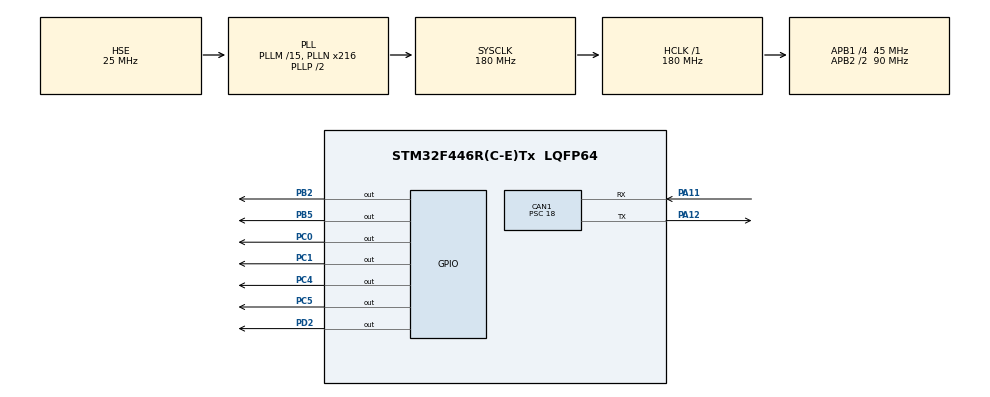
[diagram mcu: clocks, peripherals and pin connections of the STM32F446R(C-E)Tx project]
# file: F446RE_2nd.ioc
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CAN1.BS1=CAN_BS1_2TQ
CAN1.BS2=CAN_BS2_2TQ
CAN1.CalculateBaudRate=500000
CAN1.CalculateTimeBit=2000
CAN1.CalculateTimeQuantum=400.0
CAN1.Prescaler=18
FREERTOS.Tasks01=commandProcess,0,128,CommandProcessorTask,Default,NULL,Dynamic,NULL,NULL
FREERTOS.configUSE_NEWLIB_REENTRANT=1
Mcu.Family=STM32F4
Mcu.Name=STM32F446R(C-E)Tx
Mcu.Package=LQFP64
NVIC.CAN1_RX1_IRQn=true\:5\:0\:false\:false\:true\:true\:true\:true\:true
NVIC.PriorityGroup=NVIC_PRIORITYGROUP_4
NVIC.TIM2_IRQn=true\:15\:0\:false\:false\:true\:false\:false\:true\:true
NVIC.TimeBase=TIM2_IRQn
NVIC.TimeBaseIP=TIM2
PA11.Mode=CAN_Activate
PA11.Signal=CAN1_RX
PA12.Mode=CAN_Activate
PA12.Signal=CAN1_TX
PB2.Signal=GPIO_Output
PB5.Signal=GPIO_Output
PC0.Signal=GPIO_Output
PC1.Signal=GPIO_Output
PC4.Signal=GPIO_Output
PC5.Signal=GPIO_Output
PD2.Signal=GPIO_Output
PH0-OSC_IN.Mode=HSE-External-Oscillator
PH0-OSC_IN.Signal=RCC_OSC_IN
PH1-OSC_OUT.Mode=HSE-External-Oscillator
PH1-OSC_OUT.Signal=RCC_OSC_OUT
ProjectManager.HeapSize=0x200
ProjectManager.StackSize=0x400
ProjectManager.TargetToolchain=STM32CubeIDE
RCC.AHBFreq_Value=180000000
RCC.APB1CLKDivider=RCC_HCLK_DIV4
RCC.APB1Freq_Value=45000000
RCC.APB1TimFreq_Value=90000000
RCC.APB2CLKDivider=RCC_HCLK_DIV2
RCC.APB2Freq_Value=90000000
RCC.APB2TimFreq_Value=180000000
RCC.CortexFreq_Value=180000000
RCC.HCLKFreq_Value=180000000
RCC.PLLM=15
RCC.PLLN=216
RCC.PLLSourceVirtual=RCC_PLLSOURCE_HSE
RCC.SYSCLKFreq_VALUE=180000000
RCC.SYSCLKSource=RCC_SYSCLKSOURCE_PLLCLK
RCC.USBFreq_Value=180000000
RCC.VCOOutputFreq_Value=360000000
TIM1.Prescaler=180-1
VP_FREERTOS_VS_CMSIS_V1.Mode=CMSIS_V1
VP_SYS_VS_tim2.Mode=TIM2
VP_TIM1_VS_ClockSourceINT.Mode=Internal
board=custom

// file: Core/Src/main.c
/* USER CODE BEGIN Header */
/**
  ******************************************************************************
  * @file           : main.c
  * @brief          : Main program body
  ******************************************************************************
  * @attention
  *
  * Copyright (c) 2024 STMicroelectronics.
  * All rights reserved.
  *
  * This software is licensed under terms that can be found in the LICENSE file
  * in the root directory of this software component.
  * If no LICENSE file comes with this software, it is provided AS-IS.
  *
  ******************************************************************************
  */
/* USER CODE END Header */
#include "main.h"
#include "cmsis_os.h"

/* USER CODE BEGIN Includes */
#include "LCD1602.h"
#include "message.pb.h"  // Include your Protocol Buffers header
#include <pb_encode.h>   // Include Nanopb encode header
#include <pb_decode.h>   // Include Nanopb decode header
#include <stdio.h>
/* USER CODE END Includes */

/* USER CODE BEGIN PD */
#define CAN_MAX_DATA_SIZE 8 // Maximum bytes per CAN message
#define MAX_MESSAGE_SIZE 32 // Maximum size of the entire message
#define CAN_ID 0x124       // Standard CAN ID
/* USER CODE END PD */

CAN_HandleTypeDef hcan1;

TIM_HandleTypeDef htim1;

osThreadId commandProcessHandle;
/* USER CODE BEGIN PV */
BaseType_t RetValCAN;
osThreadId TaskCANHandle;

CAN_TxHeaderTypeDef TxHeader;
CAN_RxHeaderTypeDef RxHeader;

uint8_t TxData[8];
uint8_t RxData[8];

uint8_t TxMailbox[3];

uint8_t fullRxBuffer[MAX_MESSAGE_SIZE];

uint32_t error;

/* USER CODE END PV */

void SystemClock_Config(void);
static void MX_GPIO_Init(void);
static void MX_CAN1_Init(void);
static void MX_TIM1_Init(void);
void CommandProcessorTask(void const * argument);

/* USER CODE BEGIN PFP */
void CANCommunicationTask(void *argument);

/* USER CODE END PFP */

/* USER CODE BEGIN 0 */
ServoUltrasonicData received_message = ServoUltrasonicData_init_zero;
ServoUltrasonicData previous_message = ServoUltrasonicData_init_zero;
ServoUltrasonicData feedback_message = ServoUltrasonicData_init_zero;

uint8_t totalBytesReceived = 0;
size_t expectedMessageSize = 0;

int row = 0;
int col = 0;

// Callback for CAN receive
void HAL_CAN_RxFifo1MsgPendingCallback(CAN_HandleTypeDef *hcan) {
    // Get the received message
    if (HAL_CAN_GetRxMessage(hcan, CAN_RX_FIFO1, &RxHeader, RxData) != HAL_OK) {
        Error_Handler();  // Handle reception error
    }

    if (totalBytesReceived == 0) {
        // The first byte of the first frame tells us the total message length
        expectedMessageSize = RxData[0];
        // Copy the remaining 7 bytes to the buffer
        memcpy(&fullRxBuffer[totalBytesReceived], &RxData[1], 7);
        totalBytesReceived += 7;
    } else {
        // Copy the full data as usual
        size_t datalength = RxHeader.DLC;
        memcpy(&fullRxBuffer[totalBytesReceived], RxData, datalength);
        totalBytesReceived += datalength;
    }

    // Check if the full message has been received
    if (totalBytesReceived >= expectedMessageSize) {
        // Decode the received message from the complete buffer
        pb_istream_t stream = pb_istream_from_buffer(fullRxBuffer, totalBytesReceived);
        bool status = pb_decode(&stream, ServoUltrasonicData_fields, &received_message);

        if (!status) {
            const char* nanopb_error = PB_GET_ERROR(&stream);
            Error_Handler();  // Handle decoding error
        }

        // Reset for the next message
        totalBytesReceived = 0;
        expectedMessageSize = 0;
    }
}

/* USER CODE END 0 */

int main(void)
{

  /* MCU Configuration--------------------------------------------------------*/

  /* Reset of all peripherals, Initializes the Flash interface and the Systick. */
  HAL_Init();

  /* Configure the system clock */
  SystemClock_Config();

  /* Initialize all configured peripherals */
  MX_GPIO_Init();
  MX_CAN1_Init();
  MX_TIM1_Init();
  /* USER CODE BEGIN 2 */
  HAL_TIM_Base_Start(&htim1);

  lcd_init();

  HAL_CAN_Start(&hcan1);
  HAL_CAN_ActivateNotification(&hcan1, CAN_IT_RX_FIFO1_MSG_PENDING);
  /* USER CODE END 2 */

  /* Create the thread(s) */
  /* definition and creation of commandProcess */
  osThreadDef(commandProcess, CommandProcessorTask, osPriorityNormal, 0, 128);
  commandProcessHandle = osThreadCreate(osThread(commandProcess), NULL);

  /* USER CODE BEGIN RTOS_THREADS */
  /* add threads, ... */
  RetValCAN = xTaskCreate(CANCommunicationTask, "CANCommTask", 256, NULL, osPriorityNormal, &TaskCANHandle);
  assert_param(RetValCAN != NULL);

  /* USER CODE END RTOS_THREADS */

  /* Start scheduler */
  osKernelStart();

  /* We should never get here as control is now taken by the scheduler */
  /* Infinite loop */
  while (1)
  {

  }
}

void SystemClock_Config(void)
{
  RCC_OscInitTypeDef RCC_OscInitStruct = {0};
  RCC_ClkInitTypeDef RCC_ClkInitStruct = {0};

  /** Configure the main internal regulator output voltage
  */
  __HAL_RCC_PWR_CLK_ENABLE();
  __HAL_PWR_VOLTAGESCALING_CONFIG(PWR_REGULATOR_VOLTAGE_SCALE1);

  /** Initializes the RCC Oscillators according to the specified parameters
  * in the RCC_OscInitTypeDef structure.
  */
  RCC_OscInitStruct.OscillatorType = RCC_OSCILLATORTYPE_HSE;
  RCC_OscInitStruct.HSEState = RCC_HSE_ON;
  RCC_OscInitStruct.PLL.PLLState = RCC_PLL_ON;
  RCC_OscInitStruct.PLL.PLLSource = RCC_PLLSOURCE_HSE;
  RCC_OscInitStruct.PLL.PLLM = 15;
  RCC_OscInitStruct.PLL.PLLN = 216;
  RCC_OscInitStruct.PLL.PLLP = RCC_PLLP_DIV2;
  RCC_OscInitStruct.PLL.PLLQ = 2;
  RCC_OscInitStruct.PLL.PLLR = 2;
  if (HAL_RCC_OscConfig(&RCC_OscInitStruct) != HAL_OK)
  {
    Error_Handler();
  }

  /** Activate the Over-Drive mode
  */
  if (HAL_PWREx_EnableOverDrive() != HAL_OK)
  {
    Error_Handler();
  }

  /** Initializes the CPU, AHB and APB buses clocks
  */
  RCC_ClkInitStruct.ClockType = RCC_CLOCKTYPE_HCLK|RCC_CLOCKTYPE_SYSCLK
                              |RCC_CLOCKTYPE_PCLK1|RCC_CLOCKTYPE_PCLK2;
  RCC_ClkInitStruct.SYSCLKSource = RCC_SYSCLKSOURCE_PLLCLK;
  RCC_ClkInitStruct.AHBCLKDivider = RCC_SYSCLK_DIV1;
  RCC_ClkInitStruct.APB1CLKDivider = RCC_HCLK_DIV4;
  RCC_ClkInitStruct.APB2CLKDivider = RCC_HCLK_DIV2;

  if (HAL_RCC_ClockConfig(&RCC_ClkInitStruct, FLASH_LATENCY_5) != HAL_OK)
  {
    Error_Handler();
  }
}

static void MX_CAN1_Init(void)
{

  hcan1.Instance = CAN1;
  hcan1.Init.Prescaler = 18;
  hcan1.Init.Mode = CAN_MODE_NORMAL;
  hcan1.Init.SyncJumpWidth = CAN_SJW_1TQ;
  hcan1.Init.TimeSeg1 = CAN_BS1_2TQ;
  hcan1.Init.TimeSeg2 = CAN_BS2_2TQ;
  hcan1.Init.TimeTriggeredMode = DISABLE;
  hcan1.Init.AutoBusOff = DISABLE;
  hcan1.Init.AutoWakeUp = DISABLE;
  hcan1.Init.AutoRetransmission = DISABLE;
  hcan1.Init.ReceiveFifoLocked = DISABLE;
  hcan1.Init.TransmitFifoPriority = DISABLE;
  if (HAL_CAN_Init(&hcan1) != HAL_OK)
  {
    Error_Handler();
  }
  /* USER CODE BEGIN CAN1_Init 2 */

  CAN_FilterTypeDef canfilterconfig;

  canfilterconfig.FilterActivation = CAN_FILTER_ENABLE;
  canfilterconfig.FilterBank = 10;  // Choose a filter bank
  canfilterconfig.FilterFIFOAssignment = CAN_FILTER_FIFO1;
  canfilterconfig.FilterIdHigh = 0x144 << 5; // Example ID, adjust as needed
  canfilterconfig.FilterIdLow = 0;
  canfilterconfig.FilterMaskIdHigh = 0x144 << 5;
  canfilterconfig.FilterMaskIdLow = 0;
  canfilterconfig.FilterMode = CAN_FILTERMODE_IDMASK;
  canfilterconfig.FilterScale = CAN_FILTERSCALE_32BIT;
  canfilterconfig.SlaveStartFilterBank = 0;

  HAL_CAN_ConfigFilter(&hcan1, &canfilterconfig);

  /* USER CODE END CAN1_Init 2 */

}

static void MX_TIM1_Init(void)
{

  TIM_ClockConfigTypeDef sClockSourceConfig = {0};
  TIM_MasterConfigTypeDef sMasterConfig = {0};

  htim1.Instance = TIM1;
  htim1.Init.Prescaler = 180-1;
  htim1.Init.CounterMode = TIM_COUNTERMODE_UP;
  htim1.Init.Period = 65535;
  htim1.Init.ClockDivision = TIM_CLOCKDIVISION_DIV1;
  htim1.Init.RepetitionCounter = 0;
  htim1.Init.AutoReloadPreload = TIM_AUTORELOAD_PRELOAD_DISABLE;
  if (HAL_TIM_Base_Init(&htim1) != HAL_OK)
  {
    Error_Handler();
  }
  sClockSourceConfig.ClockSource = TIM_CLOCKSOURCE_INTERNAL;
  if (HAL_TIM_ConfigClockSource(&htim1, &sClockSourceConfig) != HAL_OK)
  {
    Error_Handler();
  }
  sMasterConfig.MasterOutputTrigger = TIM_TRGO_RESET;
  sMasterConfig.MasterSlaveMode = TIM_MASTERSLAVEMODE_DISABLE;
  if (HAL_TIMEx_MasterConfigSynchronization(&htim1, &sMasterConfig) != HAL_OK)
  {
    Error_Handler();
  }

}

static void MX_GPIO_Init(void)
{
  GPIO_InitTypeDef GPIO_InitStruct = {0};

  /* GPIO Ports Clock Enable */
  __HAL_RCC_GPIOH_CLK_ENABLE();
  __HAL_RCC_GPIOC_CLK_ENABLE();
  __HAL_RCC_GPIOB_CLK_ENABLE();
  __HAL_RCC_GPIOA_CLK_ENABLE();
  __HAL_RCC_GPIOD_CLK_ENABLE();

  /*Configure GPIO pin Output Level */
  HAL_GPIO_WritePin(GPIOC, GPIO_PIN_0|GPIO_PIN_1|GPIO_PIN_4|GPIO_PIN_5, GPIO_PIN_RESET);

  /*Configure GPIO pin Output Level */
  HAL_GPIO_WritePin(GPIOB, GPIO_PIN_2|GPIO_PIN_5, GPIO_PIN_RESET);

  /*Configure GPIO pin Output Level */
  HAL_GPIO_WritePin(GPIOD, GPIO_PIN_2, GPIO_PIN_RESET);

  /*Configure GPIO pins : PC0 PC1 PC4 PC5 */
  GPIO_InitStruct.Pin = GPIO_PIN_0|GPIO_PIN_1|GPIO_PIN_4|GPIO_PIN_5;
  GPIO_InitStruct.Mode = GPIO_MODE_OUTPUT_PP;
  GPIO_InitStruct.Pull = GPIO_NOPULL;
  GPIO_InitStruct.Speed = GPIO_SPEED_FREQ_LOW;
  HAL_GPIO_Init(GPIOC, &GPIO_InitStruct);

  /*Configure GPIO pins : PB2 PB5 */
  GPIO_InitStruct.Pin = GPIO_PIN_2|GPIO_PIN_5;
  GPIO_InitStruct.Mode = GPIO_MODE_OUTPUT_PP;
  GPIO_InitStruct.Pull = GPIO_NOPULL;
  GPIO_InitStruct.Speed = GPIO_SPEED_FREQ_LOW;
  HAL_GPIO_Init(GPIOB, &GPIO_InitStruct);

  /*Configure GPIO pin : PD2 */
  GPIO_InitStruct.Pin = GPIO_PIN_2;
  GPIO_InitStruct.Mode = GPIO_MODE_OUTPUT_PP;
  GPIO_InitStruct.Pull = GPIO_NOPULL;
  GPIO_InitStruct.Speed = GPIO_SPEED_FREQ_LOW;
  HAL_GPIO_Init(GPIOD, &GPIO_InitStruct);

}

/* USER CODE BEGIN 4 */

void CANCommunicationTask(void *argument) {

	char messageString[50];
	uint32_t ulNotificationValue;
	int i = 0;

    for (;;) {
        if (xTaskNotifyWait(0, 0xFFFFFFFF, &ulNotificationValue, 0) == pdTRUE) {
            // If notification received from UltrasonicSensorTask, turn on laser
            if (ulNotificationValue & (1 << 0)) {
                snprintf(messageString, sizeof(messageString),
                         "Pos1: %.2f deg, Pos2: %.2f deg, Dis: %.2f cm",
                         received_message.position_1,
                         received_message.position_2,
						 received_message.distance);

                lcd_put_cur(0, 0);
                lcd_send_string("CAN DATA: ");

                // Display scrolling text on the second line
                lcd_put_cur(1, 0);
                lcd_display_scrolling_text(messageString, 110); // Adjust delay as needed
            }
        } else {
        	snprintf(messageString, sizeof(messageString), "STAND BY: %d", i);
            lcd_put_cur(0, 0);
            lcd_send_string(messageString);

            vTaskDelay(pdMS_TO_TICKS(1000));

            lcd_clear();
            i++;
        }
    }

}

/* USER CODE END 4 */

void CommandProcessorTask(void const * argument)
{
  /* USER CODE BEGIN 5 */
  /* Infinite loop */
  for(;;)
  {
	  if (memcmp(&previous_message, &received_message, sizeof(ServoUltrasonicData)) != 0) {
		  // Update the previous message with the current received message
		  previous_message = received_message;

		  // Notify CANCommunicationTask about the change
		  xTaskNotify(TaskCANHandle, (1 << 0), eSetBits);
	  }

	  vTaskDelay(pdMS_TO_TICKS(100));
  }
  /* USER CODE END 5 */
}

void HAL_TIM_PeriodElapsedCallback(TIM_HandleTypeDef *htim)
{
  if (htim->Instance == TIM2) {
    HAL_IncTick();
  }
}

void Error_Handler(void)
{
  __disable_irq();
  while (1)
  {
  }
}
